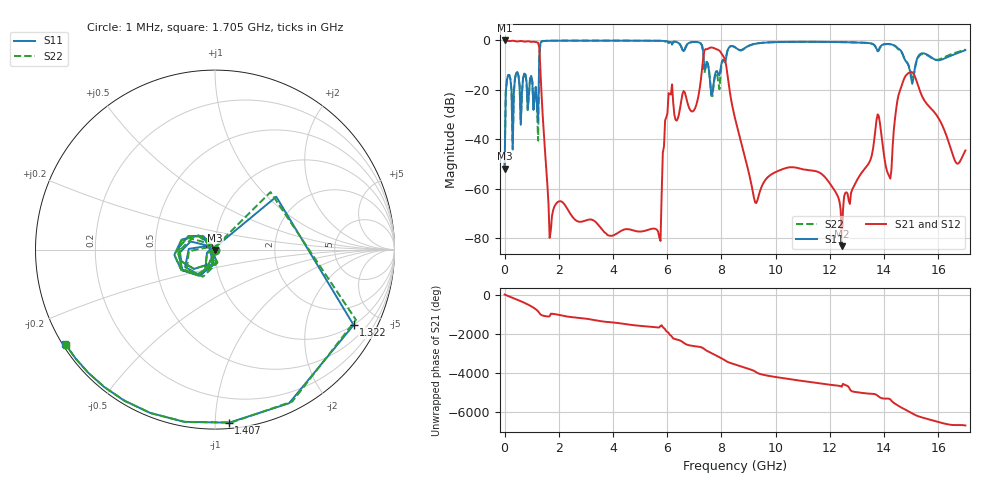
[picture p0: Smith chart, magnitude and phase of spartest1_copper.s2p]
# GHz S RI R 50
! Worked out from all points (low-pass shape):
!   400 points, 1 MHz to 17 GHz, reference 50 ohm
!   highest |S21| = -0.01 dB at 1 MHz (marker M1); lowest = -83.1 dB at 12.44 GHz (marker M2)
!   |S21| within 3 dB of the highest: start of sweep to 1.28 GHz; 7.566 GHz to 7.699 GHz (133.6 MHz wide, 1.75 % of centre)
!   lowest |S11| = -51.8 dB at 1 MHz (marker M3), VSWR 1.01, Z = 50.1 - j0.209 ohm
!   |S11| at or under -10 dB: start of sweep to 1.274 GHz; 7.508 GHz to 7.99 GHz (482.7 MHz wide, 6.23 % of centre); 14.9 GHz to 15.16 GHz (260.6 MHz wide, 1.73 % of centre)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
!   |S22| runs from -51.8 to -0.1 dB; largest |S21 - S12| = 3.8e-13
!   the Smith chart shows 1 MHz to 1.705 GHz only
!   S11 on the Smith chart (normalised r, x): 1 MHz: 1.00, -0.00; 1.322 GHz: 0.99, -3.68; 1.407 GHz: 0.04, -1.08; 1.705 GHz: 0.01, -0.29
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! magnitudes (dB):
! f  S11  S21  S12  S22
! 1 MHz  -51.8  0.0  0.0  -51.8
! 128.8 MHz  -14.0  -0.2  -0.2  -14.0
! 299.2 MHz  -43.5  -0.1  -0.1  -44.1
! 469.6 MHz  -12.8  -0.4  -0.4  -12.8
! 597.5 MHz  -34.1  -0.2  -0.2  -33.5
! 1.151 GHz  -18.9  -0.7  -0.7  -18.8
! 1.237 GHz  -32.8  -1.0  -1.0  -40.5
! 1.322 GHz  -1.1  -11.8  -11.8  -1.1
! 1.407 GHz  -0.3  -30.4  -30.4  -0.3
! 1.705 GHz  -0.1  -76.9  -76.9  -0.1
! 2.855 GHz  -0.1  -73.2  -73.2  -0.1
! 5.667 GHz  -0.1  -77.4  -77.4  -0.1
! 6.179 GHz  -1.6  -17.8  -17.8  -1.7
! 7.883 GHz  -13.6  -3.8  -3.8  -16.7
! 8.522 GHz  -2.9  -32.4  -32.4  -2.9
! 9.246 GHz  -1.3  -65.5  -65.5  -1.3
! 11.33 GHz  -0.6  -52.6  -52.6  -0.6
! 12.44 GHz  -0.7  -83.1  -83.1  -0.7
! 13.76 GHz  -4.2  -29.9  -29.9  -4.4
! 14.19 GHz  -1.5  -54.8  -54.8  -1.5
! 14.96 GHz  -12.4  -12.9  -12.9  -11.9
! 17 GHz  -3.9  -44.5  -44.5  -3.7
